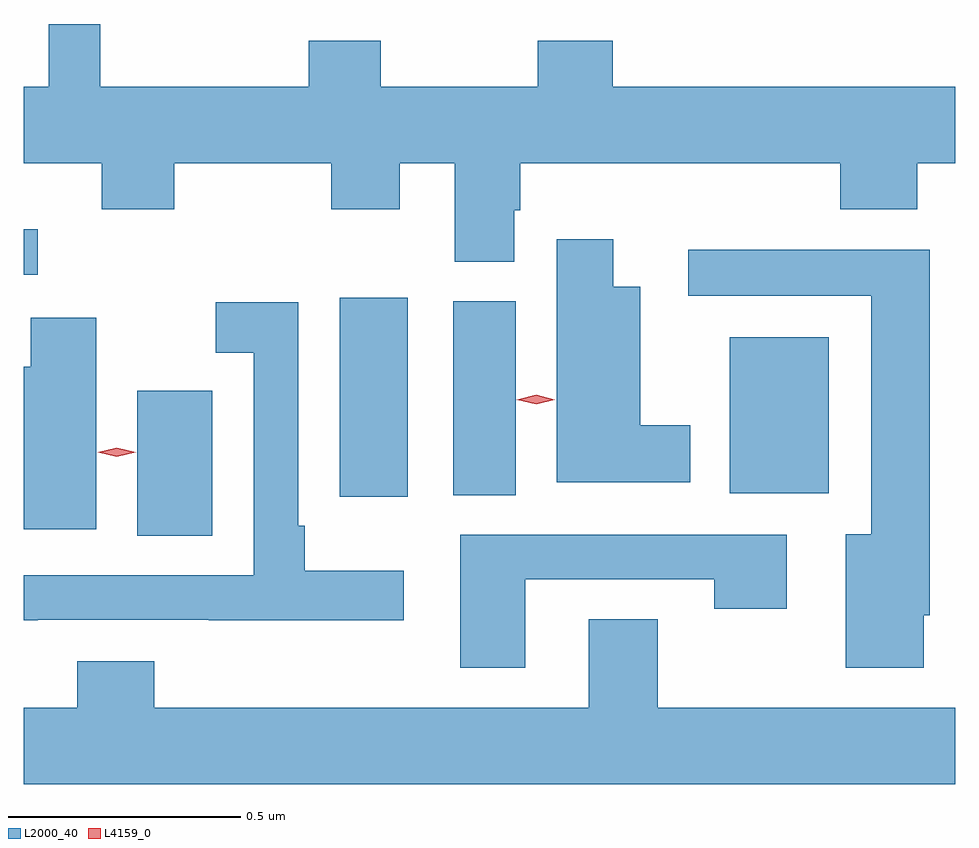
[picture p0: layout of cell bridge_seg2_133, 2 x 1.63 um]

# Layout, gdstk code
import gdstk
lib = gdstk.Library(unit=1e-6, precision=1e-09)
def R(c, l, rs):  # rectangles x0, y0, x1, y1
    for r in rs: c.add(gdstk.rectangle(r[:2], r[2:], *l))
def P(c, l, *ps):  # polygons
    for p in ps: c.add(gdstk.Polygon(p, *l))
L2000_40 = (2000, 40)
L4159_0 = (4159, 0)

bridge_seg2_133 = lib.new_cell('bridge_seg2_133')
R(bridge_seg2_133, L2000_40, [(426.422,593.557,426.583,593.868), (426.857,593.64,427.003,594.067), (427.1,593.644,427.234,594.06), (427.694,593.648,427.906,593.983), (426.178,594.117,426.208,594.214)])
P(bridge_seg2_133, L2000_40, [(427.231,594.255),(427.244,594.255),(427.244,594.356),(427.931,594.356),(427.931,594.257),(428.096,594.257),(428.096,594.356),(428.178,594.356),(428.178,594.52),(427.442,594.52),(427.442,594.619),(427.282,594.619),(427.282,594.52),(426.945,594.52),(426.945,594.619),(426.79,594.619),(426.79,594.52),(426.343,594.52),(426.343,594.655),(426.232,594.655),(426.232,594.52),(426.178,594.52),(426.178,594.356),(426.346,594.356),(426.346,594.257),(426.501,594.257),(426.501,594.356),(426.838,594.356),(426.838,594.257),(426.985,594.257),(426.985,594.356),(427.103,594.356),(427.103,594.145),(427.231,594.145)],
  [(427.609,593.794),(427.501,593.794),(427.501,594.091),(427.444,594.091),(427.444,594.193),(427.322,594.193),(427.322,593.672),(427.609,593.672)],
  [(428.11,593.386),(428.123,593.386),(428.123,594.17),(427.605,594.17),(427.605,594.072),(427.997,594.072),(427.997,593.56),(427.943,593.56),(427.943,593.274),(428.11,593.274)],
  [(426.209,593.376),(426.575,593.376),(426.575,593.375),(426.994,593.375),(426.994,593.482),(426.781,593.482),(426.781,593.578),(426.768,593.578),(426.768,594.058),(426.591,594.058),(426.591,593.949),(426.672,593.949),(426.672,593.472),(426.178,593.472),(426.178,593.375),(426.209,593.375)],
  [(426.334,594.025),(426.194,594.025),(426.194,593.919),(426.178,593.919),(426.178,593.571),(426.334,593.571)],
  [(427.255,593.463),(427.66,593.463),(427.66,593.4),(427.816,593.4),(427.816,593.559),(427.115,593.559),(427.115,593.274),(427.255,593.274)],
  [(428.178,593.188),(427.539,593.188),(427.539,593.378),(427.391,593.378),(427.391,593.188),(426.458,593.188),(426.458,593.287),(426.293,593.287),(426.293,593.188),(426.178,593.188),(426.178,593.024),(428.178,593.024)])
P(bridge_seg2_133, L4159_0, [(427.278,593.839),(427.237,593.849),(427.237,593.849),(427.237,593.849),(427.278,593.859),(427.318,593.849),(427.318,593.849),(427.318,593.849)],
  [(426.378,593.726),(426.337,593.736),(426.337,593.736),(426.337,593.736),(426.378,593.746),(426.419,593.736),(426.419,593.736),(426.419,593.736)])

lib.write_gds('bridge_seg2_133.gds')
